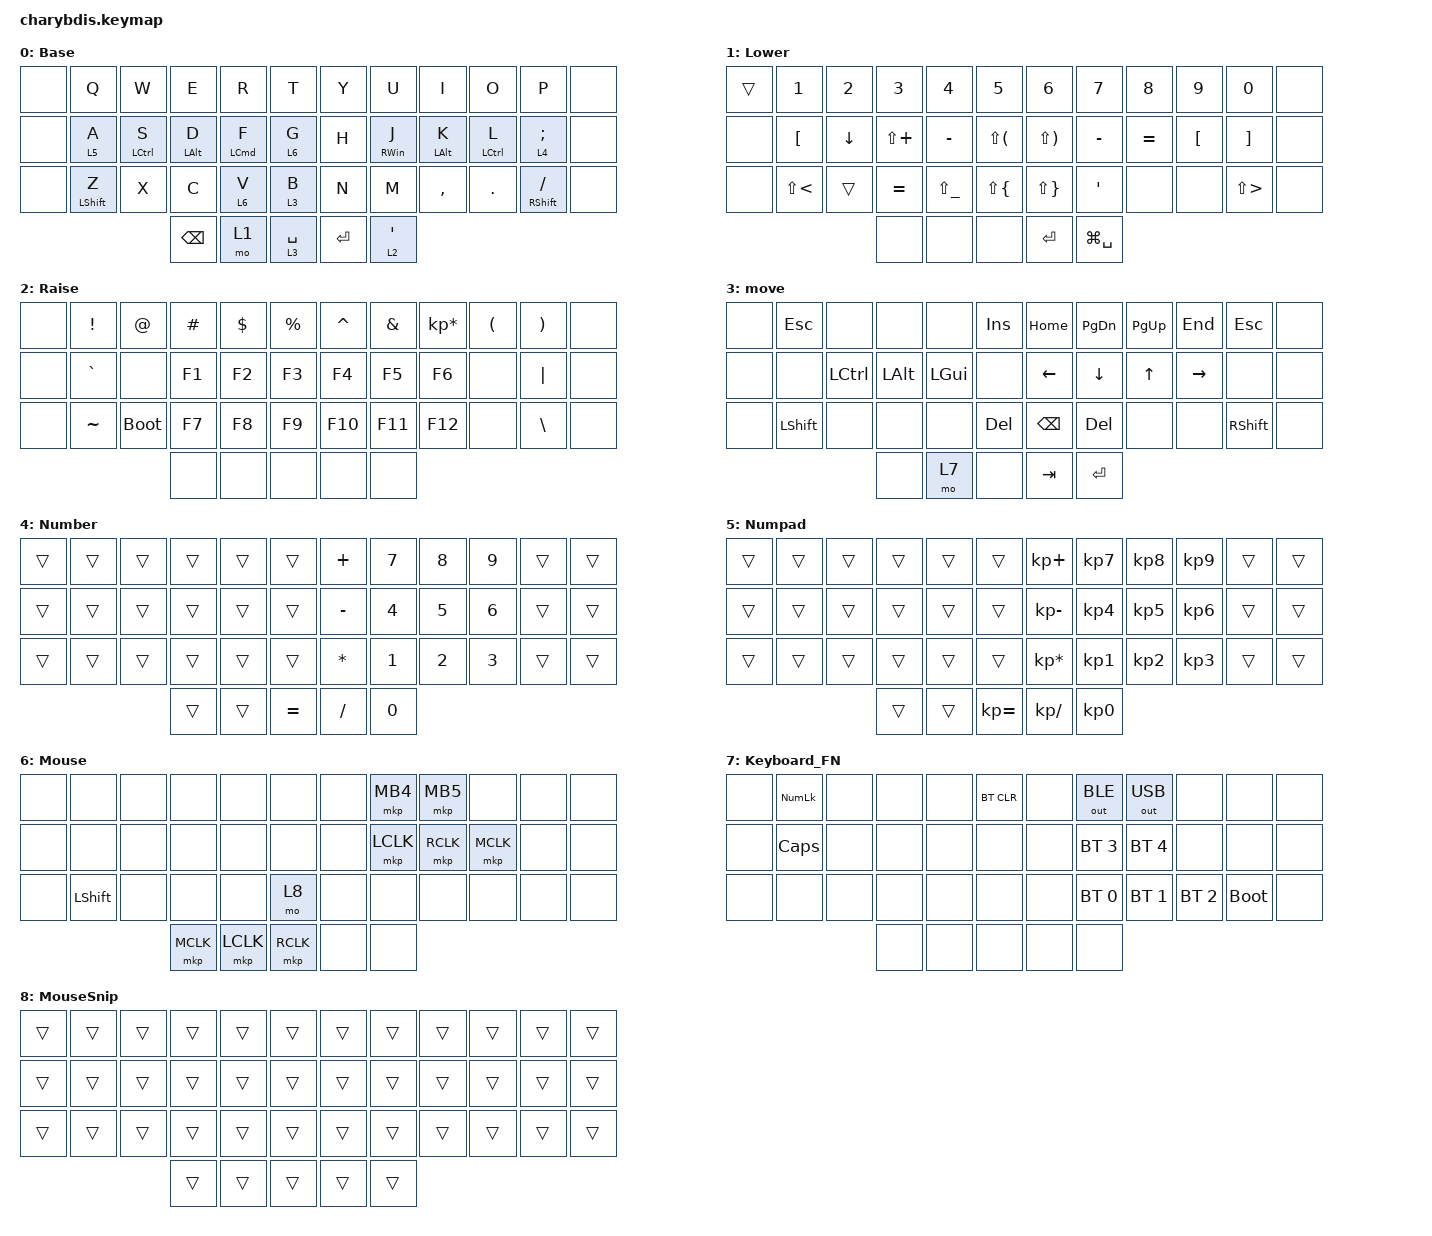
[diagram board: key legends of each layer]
#include <dt-bindings/zmk/mouse.h>
#include <behaviors/mouse_keys.dtsi>
#include <behaviors.dtsi>
#include <dt-bindings/zmk/bt.h>
#include <dt-bindings/zmk/keys.h>
#include <dt-bindings/zmk/outputs.h>

&lt {
    tapping-term-ms = <240>;
    flavor = "balanced";
    quick-tap-ms = <150>;
};

&mt { flavor = "balanced"; };

/ {
    keymap {
        compatible = "zmk,keymap";

        Base {
            label = "Base";
            bindings = <
&none  &kp Q        &kp W        &kp E           &kp R       &kp T          &kp Y      &kp U            &kp I       &kp O        &kp P            &none
&none  &lt 5 A      &mt LCTRL S  &mt LEFT_ALT D  &mt LCMD F  &lt 6 G        &kp H      &mt RIGHT_WIN J  &mt LALT K  &mt LCTRL L  &lt 4 SEMICOLON  &none
&none  &mt LSHFT Z  &kp X        &kp C           &lt 6 V     &lt 3 B        &kp N      &kp M            &kp COMMA   &kp DOT      &mt RSHFT SLASH  &none
                                 &kp BACKSPACE   &mo 1       &lt 3 SPACE    &kp ENTER  &lt 2 SQT
            >;
        };

        Lower {
            label = "Lower";
            bindings = <
&trans  &kp NUMBER_1       &kp NUMBER_2  &kp N3        &kp N4         &kp N5          &kp N6        &kp N7         &kp N8     &kp N9    &kp N0      &none
&none   &kp LEFT_BRACKET   &kp DOWN      &kp LS(PLUS)  &kp MINUS      &kp LS(LPAR)    &kp LS(RPAR)  &kp MINUS      &kp EQUAL  &kp LBKT  &kp RBKT    &none
&none   &kp LS(LESS_THAN)  &trans        &kp EQUAL     &kp LS(UNDER)  &kp LS(LBRC)    &kp LS(RBRC)  &kp SQT        &none      &none     &kp LS(GT)  &none
                                         &none         &none          &none           &kp ENTER     &kp LG(SPACE)
            >;
        };

        Raise {
            label = "Raise";
            bindings = <
&none  &kp EXCL   &kp AT       &kp HASH  &kp DLLR  &kp PRCNT    &kp CARET  &kp AMPS  &kp KP_MULTIPLY  &kp LPAR  &kp RPAR       &none
&none  &kp GRAVE  &none        &kp F1    &kp F2    &kp F3       &kp F4     &kp F5    &kp F6           &none     &kp PIPE       &none
&none  &kp TILDE  &bootloader  &kp F7    &kp F8    &kp F9       &kp F10    &kp F11   &kp F12          &none     &kp BACKSLASH  &none
                               &none     &none     &none        &none      &none
            >;
        };

        Move {
            label = "move";
            bindings = <
&none  &kp ESC    &none      &none     &none         &kp INSERT    &kp HOME        &kp PG_DN   &kp PG_UP     &kp END    &kp ESC    &none
&none  &none      &kp LCTRL  &kp LALT  &kp LEFT_GUI  &none         &kp LEFT_ARROW  &kp DOWN    &kp UP_ARROW  &kp RIGHT  &none      &none
&none  &kp LSHFT  &none      &none     &none         &kp DEL       &kp BACKSPACE   &kp DELETE  &none         &none      &kp RSHFT  &none
                             &none     &mo 7         &none         &kp TAB         &kp ENTER
            >;
        };

        Number {
            bindings = <
&trans  &trans  &trans  &trans  &trans  &trans       &kp PLUS   &kp N7  &kp N8  &kp N9  &trans  &trans
&trans  &trans  &trans  &trans  &trans  &trans       &kp MINUS  &kp N4  &kp N5  &kp N6  &trans  &trans
&trans  &trans  &trans  &trans  &trans  &trans       &kp STAR   &kp N1  &kp N2  &kp N3  &trans  &trans
                        &trans  &trans  &kp EQUAL    &kp FSLH   &kp N0
            >;
        };

        Numpad {
            bindings = <
&trans  &trans  &trans  &trans  &trans  &trans          &kp KP_PLUS      &kp KP_NUMBER_7  &kp KP_NUMBER_8  &kp KP_NUMBER_9  &trans  &trans
&trans  &trans  &trans  &trans  &trans  &trans          &kp KP_SUBTRACT  &kp KP_NUMBER_4  &kp KP_NUMBER_5  &kp KP_NUMBER_6  &trans  &trans
&trans  &trans  &trans  &trans  &trans  &trans          &kp KP_ASTERISK  &kp KP_NUMBER_1  &kp KP_NUMBER_2  &kp KP_NUMBER_3  &trans  &trans
                        &trans  &trans  &kp KP_EQUAL    &kp KP_DIVIDE    &kp KP_N0
            >;
        };

        Mouse {
            bindings = <
&none  &none       &none  &none      &none      &none        &none  &mkp MB4   &mkp MB5   &none      &none  &none
&none  &none       &none  &none      &none      &none        &none  &mkp LCLK  &mkp RCLK  &mkp MCLK  &none  &none
&none  &kp LSHIFT  &none  &none      &none      &mo 8        &none  &none      &none      &none      &none  &none
                          &mkp MCLK  &mkp LCLK  &mkp RCLK    &none  &none
            >;
        };

        Keyboard_FN {
            bindings = <
&none  &kp KP_NUMLOCK  &none  &none  &none  &bt BT_CLR    &none  &out OUT_BLE  &out OUT_USB  &none         &none        &none
&none  &kp CAPSLOCK    &none  &none  &none  &none         &none  &bt BT_SEL 3  &bt BT_SEL 4  &none         &none        &none
&none  &none           &none  &none  &none  &none         &none  &bt BT_SEL 0  &bt BT_SEL 1  &bt BT_SEL 2  &bootloader  &none
                              &none  &none  &none         &none  &none
            >;
        };

        MouseSnip {
            bindings = <
&trans  &trans  &trans  &trans  &trans  &trans    &trans  &trans  &trans  &trans  &trans  &trans
&trans  &trans  &trans  &trans  &trans  &trans    &trans  &trans  &trans  &trans  &trans  &trans
&trans  &trans  &trans  &trans  &trans  &trans    &trans  &trans  &trans  &trans  &trans  &trans
                        &trans  &trans  &trans    &trans  &trans
            >;
        };
    };
};
